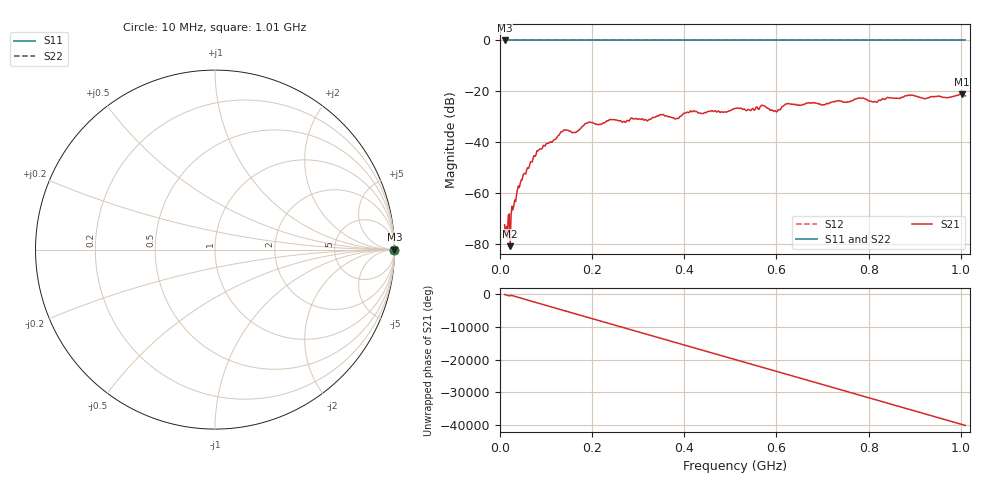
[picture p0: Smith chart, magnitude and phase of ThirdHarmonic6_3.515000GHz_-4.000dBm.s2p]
! 8/17/2025 11:30:48 AM
! C:\ANRITSUVNA\TEMP\TEMP.S2P
! CHANNEL.1
! TR.MEASUREMENT
! RAW.DATA
! RF.CORRECTION.OFF
! AVERAGING.OFF
! IF.BANDWIDTH: 5KHZ
! SWEEPTYPE:  FREQ.SWEEP(Linear)
! Reference Plane Port Info
! PORT:  PORT1  PORT2
! DISTANCE:  0  m  0  m
! TIME:  0  s  0  s
! PHASE.OFFSET:  0  deg.  0  deg.
! LOSS:  0  dB  0  dB
! REF.LOSS:  0  dB  0  dB
! REF.FREQ:  0  Hz  0  Hz
! Power Info
! POWER:  -20  dBm  -20  dBm
! EFF.POWER:  -20  dBm  -20  dBm
! SOURCE.ATTEN:  0  dB  0  dB
! TEST.ATTEN:  0  dB  0  dB
# GHZ S RI R 50.0
! FREQ.GHZ  S11RE  S11IM  S21RE  S21IM  S12RE  S12IM  S22RE  S22IM
!; PortSelection: Port_12
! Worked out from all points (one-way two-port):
!   501 points, 10 MHz to 1.01 GHz, reference 50 ohm
!   highest |S21| = -21.06 dB at 1.002 GHz (marker M1); lowest = -80.7 dB at 22 MHz (marker M2)
!   lowest |S11| = 0.0 dB at 10 MHz (marker M3)
!   |S11| at or under -10 dB: nowhere
!   |S22| runs from 0.0 to 0.0 dB; largest |S21 - S12| = 1.1
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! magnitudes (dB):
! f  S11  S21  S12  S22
! 10 MHz  0.0  -72.3  0.0  0.0
! 18 MHz  0.0  -68.6  0.0  0.0
! 22 MHz  0.0  -80.7  0.0  0.0
! 26 MHz  0.0  -65.0  0.0  0.0
! 28 MHz  0.0  -66.4  0.0  0.0
! 48 MHz  0.0  -54.7  0.0  0.0
! 84 MHz  0.0  -43.0  0.0  0.0
! 136 MHz  0.0  -35.7  0.0  0.0
! 162 MHz  0.0  -36.1  0.0  0.0
! 178 MHz  0.0  -33.8  0.0  0.0
! 192 MHz  0.0  -32.1  0.0  0.0
! 344 MHz  0.0  -29.7  0.0  0.0
! 384 MHz  0.0  -30.5  0.0  0.0
! 418 MHz  0.0  -27.9  0.0  0.0
! 510 MHz  0.0  -26.7  0.0  0.0
! 570 MHz  0.0  -25.5  0.0  0.0
! 598 MHz  0.0  -27.6  0.0  0.0
! 622 MHz  0.0  -24.9  0.0  0.0
! 678 MHz  0.0  -24.6  0.0  0.0
! 844 MHz  0.0  -22.5  0.0  0.0
! 1.002 GHz  0.0  -21.1  0.0  0.0
! 1.01 GHz  0.0  -21.7  0.0  0.0
